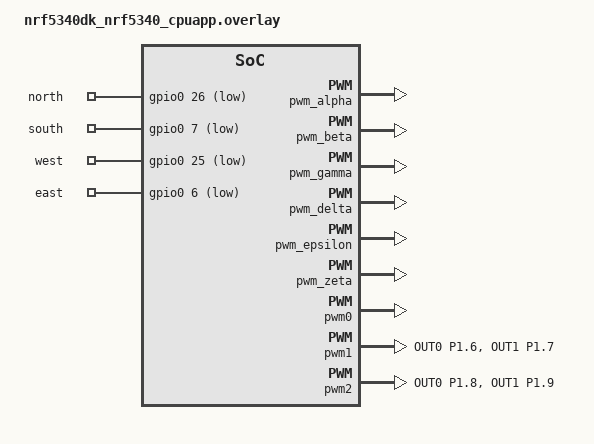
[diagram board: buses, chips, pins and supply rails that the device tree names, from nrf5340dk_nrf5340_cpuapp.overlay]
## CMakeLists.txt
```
cmake_minimum_required(VERSION 3.20.0)
find_package(Zephyr REQUIRED HINTS $ENV{ZEPHYR_BASE})
project(servo_motor)

target_sources(app PRIVATE src/main.c)
```

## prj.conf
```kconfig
CONFIG_STDOUT_CONSOLE=y
CONFIG_PRINTK=y
CONFIG_PWM=y
CONFIG_SERIAL=y
CONFIG_UART_ASYNC_API=y
```

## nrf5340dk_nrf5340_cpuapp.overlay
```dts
// To get started, press Ctrl+Space to bring up the completion menu and view the available nodes.

// You can also use the buttons in the sidebar to perform actions on nodes.
// Actions currently available include:

// * Enabling / disabling the node
// * Adding the bus to a bus
// * Removing the node
// * Connecting ADC channels

// For more help, browse the DeviceTree documentation at https://docs.zephyrproject.org/latest/guides/dts/index.html
// You can also visit the nRF DeviceTree extension documentation at https://nrfconnect.github.io/vscode-nrf-connect/devicetree/nrfdevicetree.html





&pwm0 {
    status = "okay";  
};

&pwm1 {
    pinctrl-0 = <&pwm1_default>;
    pinctrl-names = "default";
    status = "okay";
    
};
&pwm2 {
    status = "okay";
    pinctrl-0 = <&pwm2_default>;
    pinctrl-names = "default";
};

/ {
    mypwms{
        compatible = "pwm-leds";
        pwm_alpha: pwm_alpha{
            status = "okay";
		    pwms = <&pwm0 0 PWM_MSEC(20) PWM_POLARITY_INVERTED>;
	    };
        pwm_beta: pwm_beta{
            status = "okay";
		    pwms = <&pwm0 1 PWM_MSEC(20) PWM_POLARITY_INVERTED>;
	    };
        pwm_gamma: pwm_gamma{
            status = "okay";
		    pwms = <&pwm1 0 PWM_MSEC(20) PWM_POLARITY_INVERTED>;
	    };
        pwm_delta: pwm_delta{
            status = "okay";
		    pwms = <&pwm1 1 PWM_MSEC(20) PWM_POLARITY_INVERTED>;
	    };
        pwm_epsilon: pwm_epsilon{
            status = "okay";
		    pwms = <&pwm2 0 PWM_MSEC(20) PWM_POLARITY_INVERTED>;
	    };
        pwm_zeta: pwm_zeta{
            status = "okay";
		    pwms = <&pwm2 1 PWM_MSEC(20) PWM_POLARITY_INVERTED>;
	    };
    };

    aliases {
        alpha = &pwm_alpha;
        beta = &pwm_beta;
        gamma = &pwm_gamma;
        delta = &pwm_delta;
        epsilon = &pwm_epsilon;
        zeta = &pwm_zeta;
        
    
        north = &{/joystick/north/};
        south = &{/joystick/south/};
        east = &{/joystick/east/};
        west = &{/joystick/west/};
    };


    joystick {
        compatible = "gpio-keys";
        north {
            gpios = <&gpio0 26 (GPIO_ACTIVE_LOW | GPIO_PULL_UP)>;
        };
        south {
            gpios = <&gpio0 7 (GPIO_ACTIVE_LOW | GPIO_PULL_UP)>;
        };
        west {
            gpios = <&gpio0 25 (GPIO_ACTIVE_LOW | GPIO_PULL_UP)>;
        };

        east {
            gpios = <&gpio0 6 (GPIO_ACTIVE_LOW | GPIO_PULL_UP)>;
        };
    };
};






&pwm0_default {
    group1 {
        psels = <NRF_PSEL(PWM_OUT0, 1, 4)>, <NRF_PSEL(PWM_OUT1, 1, 5)>;
    };
};

&pinctrl {
    pwm1_default: pwm1_default {
        group1 {
            psels = <NRF_PSEL(PWM_OUT0, 1, 6)>, <NRF_PSEL(PWM_OUT1, 1, 7)>;
        };
    };

    pwm2_default: pwm2_default {
        group1 {
            psels = <NRF_PSEL(PWM_OUT0, 1, 8)>, <NRF_PSEL(PWM_OUT1, 1, 9)>;
        };
    };

    

    
};
/delete-node/ &{/pin-controller/pwm0_sleep/group1/};
```

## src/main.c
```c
#include <stdint.h>
#include <zephyr/device.h>
#include <zephyr/drivers/gpio.h>
#include <zephyr/drivers/pwm.h>
#include <zephyr/drivers/uart.h>
#include <zephyr/kernel.h>
#include <zephyr/sys/printk.h>

// setting period of motor to 50htz
#define PERIOD (USEC_PER_SEC / 50U)
#define STEP 20
#define MINPULSE 500
#define MAXPULSE 2500
#define MIDPULSE 1500
#define SLEEP_TIME_S 1
#define SERVO_NUM 6
#define RECEIVE_TIMEOUT 100
#define RX_BUFFER_SIZE 1000

static uint8_t rx_buffer[RX_BUFFER_SIZE] = {0};
static uint8_t tx_buffer[] = "we doin uart \n\r";
const struct device *uart = DEVICE_DT_GET(DT_NODELABEL(uart0));

typedef struct {
  const struct pwm_dt_spec name;
  uint32_t pulse;
  int direction;
} servo;

servo servos[SERVO_NUM] = {{PWM_DT_SPEC_GET(DT_ALIAS(alpha)), MIDPULSE, 1},
                           {PWM_DT_SPEC_GET(DT_ALIAS(beta)), MIDPULSE, 1},
                           {PWM_DT_SPEC_GET(DT_ALIAS(gamma)), MIDPULSE, 1},
                           {PWM_DT_SPEC_GET(DT_ALIAS(delta)), MIDPULSE, 1},
                           {PWM_DT_SPEC_GET(DT_ALIAS(epsilon)), MIDPULSE, 1},
                           {PWM_DT_SPEC_GET(DT_ALIAS(zeta)), MIDPULSE, 1}};

static const struct gpio_dt_spec btn_01 =
    GPIO_DT_SPEC_GET(DT_ALIAS(sw0), gpios);
static const struct gpio_dt_spec btn_02 =
    GPIO_DT_SPEC_GET(DT_ALIAS(sw1), gpios);
static const struct gpio_dt_spec joy_north =
    GPIO_DT_SPEC_GET(DT_ALIAS(north), gpios);

static const struct gpio_dt_spec joy_south =
    GPIO_DT_SPEC_GET(DT_ALIAS(south), gpios);

static const struct gpio_dt_spec joy_east =
    GPIO_DT_SPEC_GET(DT_ALIAS(east), gpios);

static const struct gpio_dt_spec joy_west =
    GPIO_DT_SPEC_GET(DT_ALIAS(west), gpios);

void set_Servos(servo *servos) {
  for (int i = 0; i < SERVO_NUM; i++) {
    if (servos[i].pulse > MAXPULSE)
      servos[i].pulse = MAXPULSE;
    else if (servos[i].pulse < MINPULSE)
      servos[i].pulse = MINPULSE;
    pwm_set(servos[i].name.dev, servos[i].name.channel, PWM_USEC(PERIOD),
            PWM_USEC(servos[i].pulse), 0);
    printk("%d = %d \n", i, servos[i].pulse);
  }
}

void up() { 
    for (int i = 0; i < 6; i++){
        if(servos[i].pulse != MIDPULSE){
            if(i%2 == 0)
                servos[i].pulse += STEP;
            else
                servos[i].pulse -= STEP;
        }
        set_Servos(servos);
    }
}
void down() {
  printk("south test \n");
  for (int i = 0; i < 6; i += 2){
    if (servos[i].pulse != MINPULSE)
        servos[i].pulse -= STEP/2;
  }
 
  for (int i = 1; i < 6; i += 2){
    if(servos[i].pulse != MAXPULSE)
        servos[i].pulse += STEP/2;
  }
  set_Servos(servos);
}
void north(){
    servos[1].pulse += STEP;
    servos[2].pulse += STEP;
    servos[3].pulse -= STEP;
    servos[4].pulse -= STEP;
    set_Servos(servos);
}
void south(){
    servos[1].pulse -= STEP;
    servos[2].pulse -= STEP;
    servos[3].pulse += STEP;
    servos[4].pulse += STEP;
    set_Servos(servos);
}
void east(){
    servos[0].pulse -= STEP;
    servos[5].pulse -= STEP;
    set_Servos(servos);
}
void west(){
    servos[0].pulse += STEP;
    servos[5].pulse += STEP;
    set_Servos(servos);
}
uint32_t angle_to_pulse(uint8_t angle) {
    float angle_pct = ((float)angle / 180.0f);
    uint32_t pulse = MINPULSE + (angle_pct * (MAXPULSE - MINPULSE));
    return pulse;
}

static void callback_uart(const struct device *dev, struct uart_event *evt,
                          void *user_data) {
    switch (evt->type) {
        case UART_RX_RDY:
            if ((evt->data.rx.len) == 1) {
                switch (evt->data.rx.buf[evt->data.rx.offset]) {
                    case 'w':
                        for (int i = 0; i < 6; i++)
                            servos[i].pulse = MIDPULSE;
                        set_Servos(servos);
                        break;
                    case 's':
                        for (int i = 0; i < 6; i += 2)
                            servos[i].pulse = MINPULSE;
                        for (int i = 1; i < 6; i += 2)
                            servos[i].pulse = MAXPULSE;
                        set_Servos(servos);
                        break;

                    case 'a':
                        servos[3].pulse += STEP;
                        servos[4].pulse += STEP;
                        set_Servos(servos);
                        break;

                    case 'd':
                        servos[3].pulse -= STEP;
                        servos[4].pulse -= STEP;
                        set_Servos(servos);
                        break;

                    case '1':
                        servos[0].pulse += STEP;
                        set_Servos(servos);
                        break;
                    case '2':
                        servos[1].pulse += STEP;
                        set_Servos(servos);
                        break;
                    case '3':
                        servos[2].pulse += STEP;
                        set_Servos(servos);
                        break;
                    case '4':
                        servos[3].pulse += STEP;
                        set_Servos(servos);
                        break;
                    case '5':
                        servos[4].pulse += STEP;
                        set_Servos(servos);
                        break;
                    case '6':
                        servos[5].pulse += STEP;
                        set_Servos(servos);
                        break;

                    case '0':
                        for (int i = 0; i < 6; i++)
                            servos[i].pulse = MINPULSE;
                        set_Servos(servos);
                        break;
                    case '9':
                        for (int i = 0; i < 6; i++)
                            servos[i].pulse = MINPULSE;
                        set_Servos(servos);
                        break;
                    case '8':
                        for (int i = 0; i < 6; i++)
                            servos[i].pulse = MIDPULSE;
                        set_Servos(servos);
                        break;
                }
                printk("%d\n", evt->data.rx.buf[evt->data.rx.offset]);
            }
            break;
        case UART_RX_DISABLED:
            uart_rx_enable(dev, rx_buffer, sizeof rx_buffer, RECEIVE_TIMEOUT);
            break;
        default:
            break;
    }
}

void main(void) {
    printk("lets begin \n");
    set_Servos(servos);
    uart_callback_set(uart, callback_uart, NULL);
    uart_tx(uart, tx_buffer, sizeof(tx_buffer), SYS_FOREVER_MS);
    uart_rx_enable(uart, rx_buffer, sizeof(rx_buffer), RECEIVE_TIMEOUT);

    if (!device_is_ready(uart))
        printk("no uart device");
    else
        printk("we got uart");

    gpio_pin_configure_dt(&joy_north, GPIO_INPUT); 
    gpio_pin_configure_dt(&joy_south, GPIO_INPUT);
    gpio_pin_configure_dt(&joy_east, GPIO_INPUT);
    gpio_pin_configure_dt(&joy_west, GPIO_INPUT);
    gpio_pin_configure_dt(&btn_01, GPIO_INPUT);
    gpio_pin_configure_dt(&btn_02, GPIO_INPUT);

    while (1){
        if(gpio_pin_get_dt(&joy_north)){
            if(gpio_pin_get_dt(&btn_01))
                up();
            else
                north();
        }

        if(gpio_pin_get_dt(&joy_south)){
            if(gpio_pin_get_dt(&btn_01))
                down();
            else
                south();
        }
        if(gpio_pin_get_dt(&joy_west)){
            west();
            printk("west");
        }
        if(gpio_pin_get_dt(&joy_east)){
            east();
        }
    }
}
```
